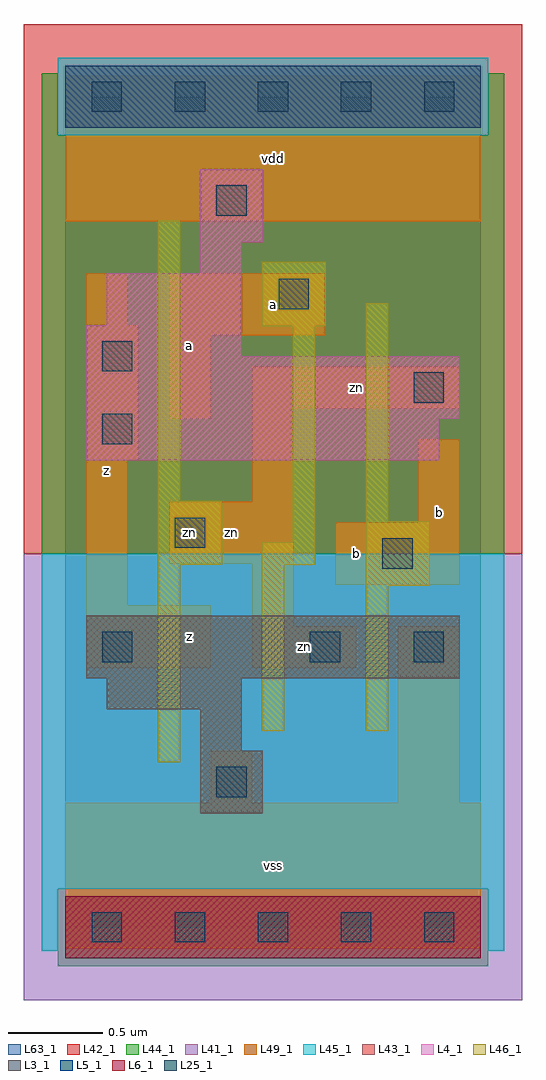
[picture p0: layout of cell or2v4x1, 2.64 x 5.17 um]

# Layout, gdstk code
import gdstk
lib = gdstk.Library(unit=1e-6, precision=1e-09)
def R(c, l, rs):  # rectangles x0, y0, x1, y1
    for r in rs: c.add(gdstk.rectangle(r[:2], r[2:], *l))
def A(c, l, x, y, w, h, nx, ny, dx, dy):  # array of equal rectangles
    R(c, l, [(x+i*dx, y+j*dy, x+i*dx+w, y+j*dy+h) for i in range(nx) for j in range(ny)])
L3_1 = (3, 1)
L4_1 = (4, 1)
L5_1 = (5, 1)
L6_1 = (6, 1)
L25_1 = (25, 1)
L41_1 = (41, 1)
L42_1 = (42, 1)
L43_1 = (43, 1)
L44_1 = (44, 1)
L45_1 = (45, 1)
L46_1 = (46, 1)
L49_1 = (49, 1)
L63_1 = (63, 1)

or2v4x1 = lib.new_cell('or2v4x1')
R(or2v4x1, L3_1, [(0.715,0.605,1.045,0.935), (0.715,0.935,0.935,1.155), (0.22,1.155,0.935,1.32), (0.11,1.32,2.09,1.65)])
R(or2v4x1, L4_1, [(0.11,2.475,1.98,2.695), (0.11,2.695,2.09,3.025), (0.11,3.025,0.935,3.19), (0.22,3.19,0.935,3.465), (0.715,3.465,0.935,3.63), (0.715,3.63,1.045,4.015)])
R(or2v4x1, L5_1, [(0,4.235,2.2,4.565)])
R(or2v4x1, L6_1, [(0,-0.165,2.2,0.165)])
A(or2v4x1, L25_1, 0.14, -0.08, 0.16, 0.16, 5, 2, 0.44, 4.4)
R(or2v4x1, L25_1, [(0.8,0.69,0.96,0.85), (0.195,1.405,0.355,1.565), (1.295,1.405,1.455,1.565), (1.845,1.405,2.005,1.565), (1.68,1.9,1.84,2.06), (0.58,2.01,0.74,2.17), (0.195,2.56,0.355,2.72), (1.845,2.78,2.005,2.94), (0.195,2.945,0.355,3.105), (1.13,3.275,1.29,3.435), (0.8,3.77,0.96,3.93)])
R(or2v4x1, L41_1, [(-0.22,-0.385,2.42,1.98)])
R(or2v4x1, L42_1, [(-0.22,1.98,2.42,4.785)])
R(or2v4x1, L43_1, [(0,-0.165,2.2,0.165), (0.715,0.605,1.045,0.935), (0.715,0.935,0.935,1.155), (0.22,1.155,0.935,1.32), (0.11,1.32,2.09,1.65), (0.11,2.475,1.98,2.695), (0.11,2.695,2.09,3.025), (0.11,3.025,0.935,3.19), (0.22,3.19,0.935,3.465), (0.715,3.465,0.935,3.63), (0.715,3.63,1.045,4.015), (0,4.235,2.2,4.565)])
R(or2v4x1, L44_1, [(-0.04,-0.205,2.24,0.205), (-0.125,1.98,2.325,4.195), (-0.125,4.195,-0.04,4.525), (2.24,4.195,2.325,4.525)])
R(or2v4x1, L45_1, [(-0.125,-0.125,-0.04,0.205), (2.24,-0.125,2.325,0.205), (-0.125,0.205,2.325,1.98), (-0.04,4.195,2.24,4.605)])
R(or2v4x1, L46_1, [(0.49,0.875,0.61,1.92), (1.04,1.04,1.16,1.92), (1.59,1.04,1.71,1.81), (1.59,1.81,1.93,2.15), (0.49,1.92,0.83,2.26), (1.04,1.92,1.325,2.04), (1.205,2.04,1.325,3.185), (1.59,2.15,1.71,3.305), (0.49,2.26,0.61,3.745), (1.04,3.185,1.38,3.525)])
R(or2v4x1, L49_1, [(0,-0.11,2.2,0.66), (0.77,0.66,0.99,0.935), (1.76,0.66,2.09,1.595), (0.11,1.375,0.77,1.705), (0.99,1.375,1.54,1.595), (0.99,1.595,1.21,1.925), (0.11,1.705,0.33,2.475), (1.43,1.815,2.09,2.145), (0.55,1.925,1.21,2.255), (1.87,2.145,2.09,2.585), (0.99,2.255,1.21,2.75), (0.11,2.475,0.385,3.19), (0.55,2.695,0.77,3.135), (0.99,2.75,2.09,2.97), (0.55,3.135,1.375,3.465), (0.11,3.19,0.33,3.465), (0,3.74,2.2,4.51)])
R(or2v4x1, L63_1, [(0,0,2.2,4.4)])
or2v4x1.add(gdstk.Label('zn', (0.66,2.09), layer=49, texttype=1))
or2v4x1.add(gdstk.Label('z', (0.22,2.42), layer=49, texttype=1))
or2v4x1.add(gdstk.Label('z', (0.66,1.54), layer=49, texttype=1))
or2v4x1.add(gdstk.Label('a', (0.66,3.08), layer=49, texttype=1))
or2v4x1.add(gdstk.Label('vss', (1.1,0.33), layer=49, texttype=1))
or2v4x1.add(gdstk.Label('zn', (1.265,1.485), layer=49, texttype=1))
or2v4x1.add(gdstk.Label('b', (1.54,1.98), layer=49, texttype=1))
or2v4x1.add(gdstk.Label('zn', (0.88,2.09), layer=49, texttype=1))
or2v4x1.add(gdstk.Label('a', (1.1,3.3), layer=49, texttype=1))
or2v4x1.add(gdstk.Label('vdd', (1.1,4.07), layer=49, texttype=1))
or2v4x1.add(gdstk.Label('b', (1.98,2.2), layer=49, texttype=1))
or2v4x1.add(gdstk.Label('zn', (1.54,2.86), layer=49, texttype=1))

lib.write_gds('or2v4x1.gds')
